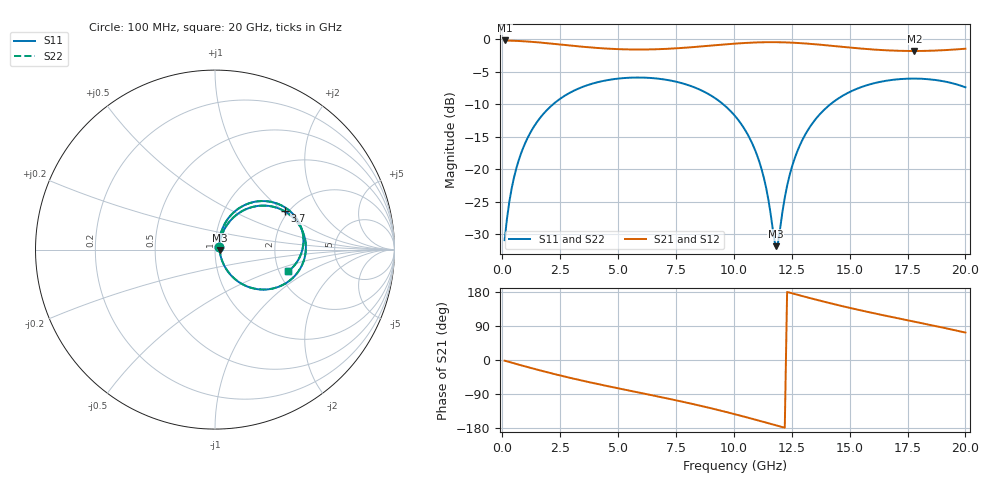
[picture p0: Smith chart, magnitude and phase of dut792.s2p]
! Touchstone file exported from HFSS 2026.1.0
!  File:  C:/ffzhzh/LocalFiles/Ansys_Project_Files/temp_train_TSV_RDL_792_1783261497_39728.aedt
!  Generated:  10:40:25 PM Jul  5, 2026
!  Design:  TSV_RDL
!  Project:  temp_train_TSV_RDL_792_1783261497_39728
! Variables:
!  h_bsmrdl = 5.64um
!  h_ox = 20um
!  h_rdl = 5um
!  h_sub = 99.09um
!  h_tmrdl = 4.37um
!  h_tsv = 99.09um
!  h_via = 3um
!  l_bsmrdl = 467.3um
!  l_sub = 4684.05um
!  l_tmrdl = 687.17um
!  m_sub = 200um
!  pitch = 44.45um
!  r_tsv = 3.82um
!  s_tmrdl = 10um
!  w_bsmrdl = 28.25um
!  w_sub = 500um
!  w_tmrdl = 16.24um
!  x_tsv_center1 = 695.29um
!  x_tsv_center2 = 1190.84um
!  x_tsv_center3 = 1894.25um
!  x_tsv_center4 = 2389.8um
!  x_tsv_center5 = 3093.21um
!  x_tsv_center6 = 3588.76um
# GHz S MA R 50.000000
! Terminal data exported
! Port[1] = TM_RDL1_1_T1
! Port[2] = TM_RDL5_1_T1
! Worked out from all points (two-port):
!   200 points, 100 MHz to 20 GHz, reference 50 ohm
!   highest |S21| = -0.20 dB at 100 MHz (marker M1); lowest = -1.8 dB at 17.8 GHz (marker M2)
!   |S21| within 3 dB of the highest: start of sweep to end of sweep
!   lowest |S11| = -31.9 dB at 11.8 GHz (marker M3), VSWR 1.05, Z = 52.6 - j0.331 ohm
!   |S11| at or under -10 dB: start of sweep to 2.201 GHz; 9.533 GHz to 14.18 GHz (4.644 GHz wide, 39.2 % of centre)
!   |S22| runs from -31.7 to -5.9 dB; largest |S21 - S12| = 1.6e-14
!   S11 on the Smith chart (normalised r, x): 100 MHz: 1.05, +0.03; 3.7 GHz: 1.92, +1.02; 20 GHz: 2.25, -0.66
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0.1  0.02837 35.9  0.9774 -1.8  0.9774 -1.8  0.02837 35.9
! Gamma 0 0 0 0
! Port Impedance 50 0 50 0
0.3  0.05548 59.2  0.9748 -5.3  0.9748 -5.3  0.05548 59.2
0.5  0.0853 64.4  0.9719 -8.7  0.9719 -8.7  0.0853 64.4
1.1  0.1747 62.7  0.9589 -18.8  0.9589 -18.8  0.1747 62.7
2.1  0.3049 50.0  0.9249 -34.8  0.9249 -34.8  0.3049 50.0
3.5  0.4312 31.2  0.8732 -55.1  0.8732 -55.1  0.4312 31.3
3.7  0.4439 28.7  0.8669 -57.8  0.8669 -57.8  0.4439 28.7
5.3  0.5027 8.9  0.8347 -78.5  0.8347 -78.5  0.5027 9.0
6.8  0.495 -9.0  0.8379 -97.3  0.8379 -97.3  0.495 -9.0
8.6  0.4034 -31.5  0.8794 -121.3  0.8794 -121.3  0.4034 -31.5
10.1  0.2501 -51.2  0.9255 -143.9  0.9255 -143.9  0.2501 -51.1
11.1  0.1139 -60.2  0.9453 -160.3  0.9453 -160.3  0.114 -59.9
11.4  0.07091 -57.1  0.9477 -165.3  0.9477 -165.3  0.07103 -56.8
11.8  0.0255 -7.1  0.948 -172.0  0.948 -172.0  0.02593 -6.8
11.9  0.02662 25.2  0.9475 -173.7  0.9475 -173.7  0.02706 24.9
12.2  0.06035 65.0  0.9448 -178.8  0.9448 -178.8  0.06057 64.6
12.5  0.1027 70.4  0.9402 176.2  0.9402 176.2  0.1029 70.2
13.4  0.2258 63.9  0.9173 161.6  0.9173 161.6  0.2259 63.8
14.8  0.3754 46.1  0.869 140.4  0.869 140.4  0.3755 46.1
16.7  0.4822 22.7  0.8191 115.0  0.8191 115.0  0.4822 22.7
17.8  0.4973 9.8  0.8108 101.1  0.8108 101.1  0.4973 9.8
20  0.4261 -16.5  0.8443 72.4  0.8443 72.4  0.4261 -16.5
